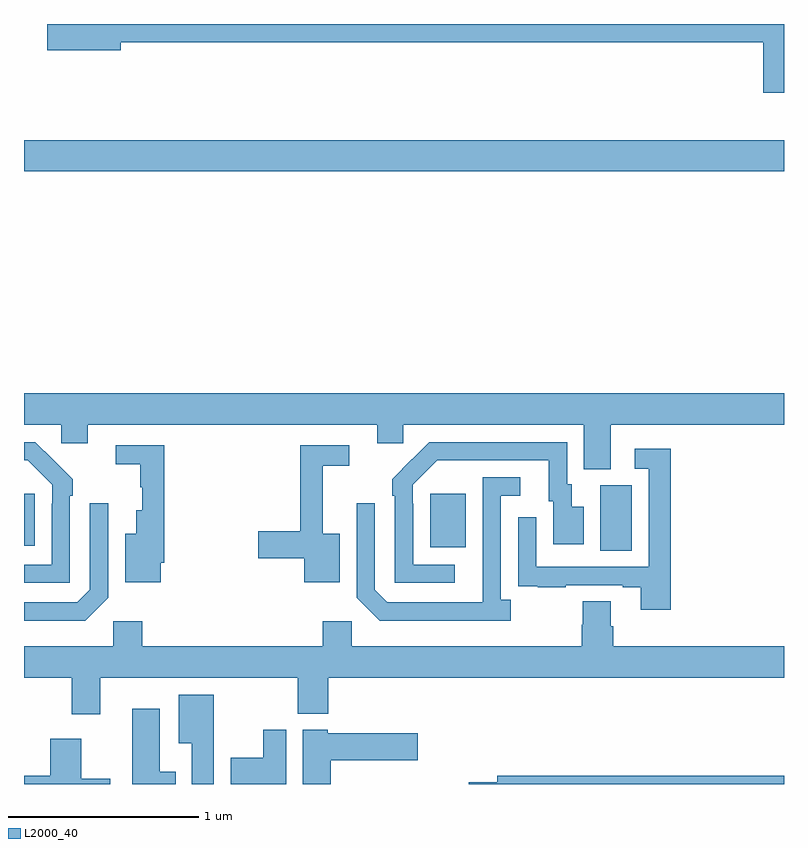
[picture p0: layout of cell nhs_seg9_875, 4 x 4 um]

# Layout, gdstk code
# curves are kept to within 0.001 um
import gdstk
lib = gdstk.Library(unit=1e-6, precision=1e-09)
def R(c, l, rs):  # rectangles x0, y0, x1, y1
    for r in rs: c.add(gdstk.rectangle(r[:2], r[2:], *l))
def P(c, l, *ps):  # polygons
    for p in ps: c.add(gdstk.Polygon(p, *l))
L2000_40 = (2000, 40)

nhs_seg9_875 = lib.new_cell('nhs_seg9_875')
R(nhs_seg9_875, L2000_40, [(160.034,1223.728,160.198,1224.072), (159.137,1223.747,159.325,1224.028), (157,1223.753,157.057,1224.028), (157,1225.724,161,1225.888)])
P(nhs_seg9_875, L2000_40, [(161,1226.5),(157.122,1226.5),(157.122,1226.362),(157.51,1226.362),(157.51,1226.404),(160.892,1226.404),(160.892,1226.139),(161,1226.139)],
  [(160.087,1224.392),(161,1224.392),(161,1224.556),(157,1224.556),(157,1224.392),(157.197,1224.392),(157.197,1224.294),(157.336,1224.294),(157.336,1224.392),(158.858,1224.392),(158.858,1224.294),(158.997,1224.294),(158.997,1224.392),(159.947,1224.392),(159.947,1224.157),(160.087,1224.157)],
  [(157.242,1224.017),(157.257,1224.017),(157.257,1224.105),(157.06,1224.3),(157,1224.3),(157,1224.204),(157.021,1224.204),(157.149,1224.075),(157.149,1223.975),(157.146,1223.975),(157.146,1223.655),(157,1223.655),(157,1223.559),(157.242,1223.559)],
  [(159.268,1223.655),(159.048,1223.655),(159.048,1223.975),(159.045,1223.975),(159.045,1224.075),(159.174,1224.204),(159.761,1224.204),(159.761,1223.988),(159.785,1223.988),(159.785,1223.763),(159.946,1223.763),(159.946,1223.959),(159.883,1223.959),(159.883,1224.078),(159.858,1224.078),(159.858,1224.3),(159.134,1224.3),(158.937,1224.105),(158.937,1224.017),(158.952,1224.017),(158.952,1223.559),(159.268,1223.559)],
  [(157.72,1223.665),(157.739,1223.665),(157.739,1224.282),(157.482,1224.282),(157.482,1224.184),(157.611,1224.184),(157.611,1224.063),(157.622,1224.063),(157.622,1223.941),(157.592,1223.941),(157.592,1223.818),(157.532,1223.818),(157.532,1223.561),(157.72,1223.561)],
  [(158.662,1223.818),(158.573,1223.818),(158.573,1224.174),(158.713,1224.174),(158.713,1224.282),(158.455,1224.282),(158.455,1223.831),(158.232,1223.831),(158.232,1223.689),(158.474,1223.689),(158.474,1223.561),(158.662,1223.561)],
  [(160.403,1224.265),(160.215,1224.265),(160.215,1224.159),(160.287,1224.159),(160.287,1223.643),(159.696,1223.643),(159.696,1223.905),(159.6,1223.905),(159.6,1223.65),(159.601,1223.65),(159.601,1223.541),(159.703,1223.541),(159.703,1223.535),(159.851,1223.535),(159.851,1223.547),(160.151,1223.547),(160.151,1223.535),(160.247,1223.535),(160.247,1223.418),(160.403,1223.418)],
  [(159.562,1223.47),(159.51,1223.47),(159.51,1224.018),(159.613,1224.018),(159.613,1224.114),(159.414,1224.114),(159.414,1223.457),(158.913,1223.457),(158.847,1223.523),(158.847,1223.977),(158.751,1223.977),(158.751,1223.481),(158.872,1223.36),(159.562,1223.36)],
  [(157.443,1223.481),(157.443,1223.977),(157.347,1223.977),(157.347,1223.523),(157.281,1223.457),(157,1223.457),(157,1223.36),(157.322,1223.36)],
  [(157.402,1223.06),(158.44,1223.06),(158.44,1222.871),(158.6,1222.871),(158.6,1223.06),(161,1223.06),(161,1223.224),(160.1,1223.224),(160.1,1223.33),(160.087,1223.33),(160.087,1223.462),(159.94,1223.462),(159.94,1223.337),(159.935,1223.337),(159.935,1223.224),(158.724,1223.224),(158.724,1223.356),(158.573,1223.356),(158.573,1223.224),(157.622,1223.224),(157.622,1223.356),(157.47,1223.356),(157.47,1223.224),(157,1223.224),(157,1223.06),(157.25,1223.06),(157.25,1222.866),(157.402,1222.866)],
  [(157.999,1222.969),(157.814,1222.969),(157.814,1222.715),(157.883,1222.715),(157.883,1222.5),(157.999,1222.5)],
  [(157.798,1222.564),(157.714,1222.564),(157.714,1222.897),(157.571,1222.897),(157.571,1222.5),(157.798,1222.5)],
  [(158.38,1222.786),(158.258,1222.786),(158.258,1222.639),(158.087,1222.639),(158.087,1222.5),(158.38,1222.5)],
  [(158.615,1222.625),(159.073,1222.625),(159.073,1222.767),(158.598,1222.767),(158.598,1222.786),(158.468,1222.786),(158.468,1222.5),(158.615,1222.5)],
  [(157.453,1222.527),(157.3,1222.527),(157.3,1222.738),(157.138,1222.738),(157.138,1222.544),(157,1222.544),(157,1222.5),(157.453,1222.5)],
  [(161,1222.544),(159.491,1222.544),(159.491,1222.508),(159.342,1222.508),(159.342,1222.5),(161,1222.5)])

lib.write_gds('nhs_seg9_875.gds')
